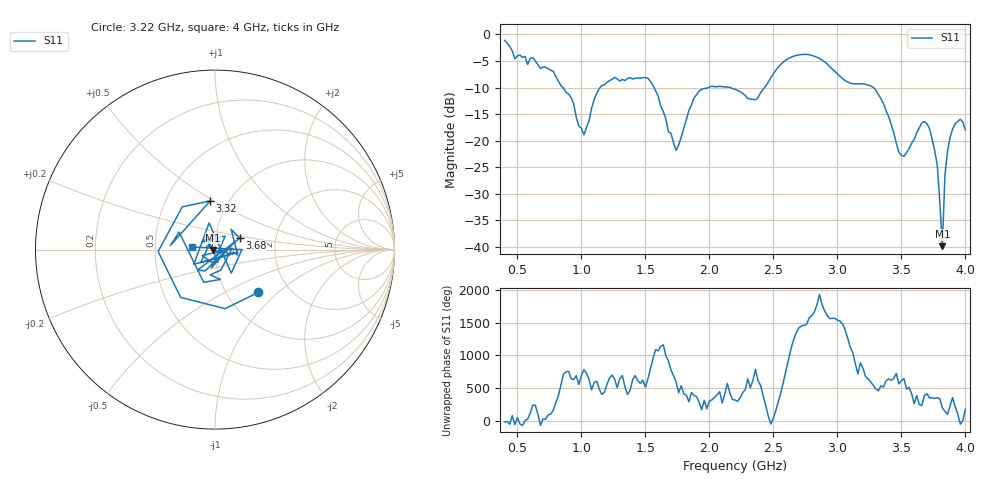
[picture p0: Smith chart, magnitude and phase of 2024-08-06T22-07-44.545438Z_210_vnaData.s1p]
!Created with skrf (http://scikit-rf.org).
# Hz S RI R 50.0
!freq ReS11 ImS11
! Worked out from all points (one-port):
!   181 points, 400 MHz to 4 GHz, reference 50 ohm
!   lowest |S11| = -39.8 dB at 3.82 GHz (marker M1), VSWR 1.02, Z = 49 - j0.272 ohm
!   |S11| at or under -10 dB: 855.7 MHz to 1.146 GHz (290.5 MHz wide, 29 % of centre); 1.567 GHz to 1.991 GHz (424 MHz wide, 23.8 % of centre); 3.281 GHz to end of sweep (the widest 3 of 4)
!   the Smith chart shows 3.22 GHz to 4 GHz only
!   S11 on the Smith chart (normalised r, x): 3.22 GHz: 1.40, -0.75; 3.32 GHz: 0.82, +0.48; 3.68 GHz: 1.31, +0.17; 4 GHz: 0.78, +0.02
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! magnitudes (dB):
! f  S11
! 400 MHz  -1.1
! 480 MHz  -4.6
! 620 MHz  -4.4
! 860 MHz  -10.1
! 1.02 GHz  -18.9
! 1.14 GHz  -10.2
! 1.3 GHz  -8.8
! 1.52 GHz  -8.3
! 1.74 GHz  -21.8
! 1.76 GHz  -20.8
! 1.92 GHz  -10.6
! 2.2 GHz  -10.3
! 2.36 GHz  -12.3
! 2.66 GHz  -4.1
! 2.86 GHz  -4.5
! 3.1 GHz  -9.2
! 3.22 GHz  -9.4
! 3.32 GHz  -11.3
! 3.48 GHz  -22.1
! 3.56 GHz  -21.5
! 3.68 GHz  -16.4
! 3.72 GHz  -17.7
! 3.78 GHz  -24.5
! 3.82 GHz  -39.8
! 3.84 GHz  -26.6
! 3.88 GHz  -19.4
! 3.96 GHz  -16.0
! 4 GHz  -18.0
